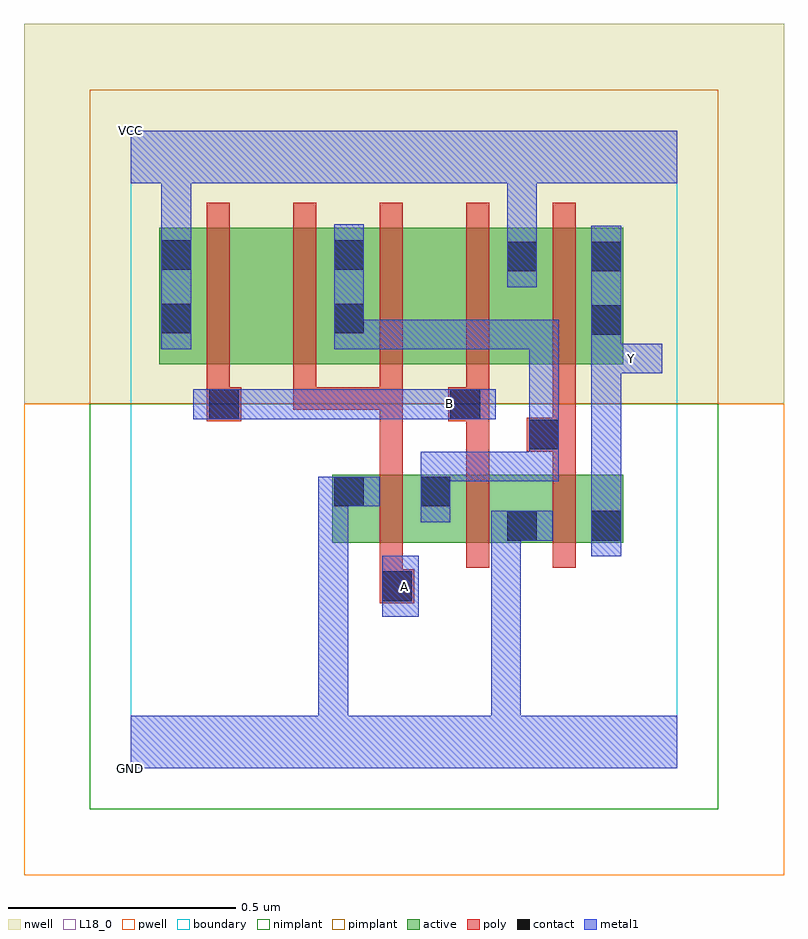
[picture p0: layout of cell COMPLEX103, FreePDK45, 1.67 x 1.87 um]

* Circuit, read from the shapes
.subckt COMPLEX103 A B GND VCC Y
M1 n1 A GND VSUBS nfet w=0.15u l=0.05u
M2 GND B n1 VSUBS nfet w=0.15u l=0.05u
M3 Y n1 GND VSUBS nfet w=0.15u l=0.05u
M4 n2 B VCC n3 pfet w=0.3u l=0.05u
M5 n1 A n2 n3 pfet w=0.3u l=0.05u
M6 n4 A n1 n3 pfet w=0.3u l=0.05u
M7 VCC B n4 n3 pfet w=0.3u l=0.05u
M8 Y n1 VCC n3 pfet w=0.3u l=0.05u
.ends

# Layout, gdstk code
import gdstk
lib = gdstk.Library(unit=1e-6, precision=1e-09)
def R(c, l, rs):  # rectangles x0, y0, x1, y1
    for r in rs: c.add(gdstk.rectangle(r[:2], r[2:], *l))
def A(c, l, x, y, w, h, nx, ny, dx, dy):  # array of equal rectangles
    R(c, l, [(x+i*dx, y+j*dy, x+i*dx+w, y+j*dy+h) for i in range(nx) for j in range(ny)])
active = (1, 0)
pwell = (2, 0)
nwell = (3, 0)
nimplant = (4, 0)
pimplant = (5, 0)
poly = (9, 0)
contact = (10, 0)
metal1 = (11, 0)
L18_0 = (18, 0)
boundary = (235, 0)

complex103 = lib.new_cell('COMPLEX103')
R(complex103, active, [(0.442,0.495,0.517,0.645), (0.442,0.495,0.707,0.645), (0.632,0.495,0.707,0.645), (0.632,0.495,0.897,0.645), (0.822,0.495,1.082,0.645), (0.822,0.495,0.897,0.57), (1.007,0.495,1.082,0.645), (0.062,0.887,0.287,1.187), (0.062,0.887,0.137,1.165), (0.287,0.887,0.517,1.187), (0.442,0.887,0.667,1.187), (0.442,0.887,0.517,1.187), (0.667,0.887,0.897,1.187), (0.822,0.887,1.082,1.187), (1.007,0.887,1.082,1.162), (0.822,1.007,0.897,1.187)])
R(complex103, pwell, [(-0.235,-0.235,1.435,0.8)])
R(complex103, nwell, [(-0.235,0.8,1.435,1.635)])
R(complex103, nimplant, [(-0.09,-0.09,1.29,0.8)])
R(complex103, pimplant, [(-0.09,0.8,1.29,1.49)])
A(complex103, poly, 0.547, 0.44, 0.05, 0.26, 3, 1, 0.19, 0)
A(complex103, poly, 0.167, 0.787, 0.05, 0.095, 4, 1, 0.19, 0)
A(complex103, poly, 0.167, 0.832, 0.05, 0.41, 5, 1, 0.19, 0)
R(complex103, poly, [(0.547,0.362,0.622,0.437), (0.547,0.387,0.597,0.49), (0.547,0.65,0.597,0.837), (0.737,0.65,0.787,0.812), (0.927,0.65,0.977,0.745), (0.87,0.695,0.977,0.77), (0.927,0.72,0.977,0.882), (0.167,0.762,0.242,0.837), (0.697,0.762,0.787,0.837), (0.357,0.787,0.597,0.837), (0.357,0.787,0.407,0.837), (0.357,0.787,0.407,0.837), (0.357,0.787,0.407,0.837), (0.547,0.787,0.597,0.837)])
R(complex103, contact, [(0.552,0.367,0.617,0.432), (0.827,0.5,0.892,0.565), (1.012,0.5,1.077,0.565), (0.447,0.575,0.512,0.64), (0.637,0.575,0.702,0.64), (0.875,0.7,0.94,0.765), (0.172,0.767,0.237,0.832), (0.702,0.767,0.767,0.832), (1.012,0.952,1.077,1.017), (0.067,0.955,0.132,1.02), (0.447,0.955,0.512,1.02), (0.827,1.092,0.892,1.157), (1.012,1.092,1.077,1.157), (0.067,1.095,0.132,1.16), (0.447,1.095,0.512,1.16)])
R(complex103, metal1, [(0,0,1.2,0.115), (0.412,0.05,0.477,0.115), (0.412,0.05,0.477,0.115), (0.412,0.05,0.477,0.64), (0.792,0.05,0.857,0.115), (0.792,0.05,0.857,0.115), (0.792,0.05,0.857,0.115), (0.792,0.05,0.857,0.115), (0.792,0.05,0.857,0.115), (0.792,0.05,0.857,0.115), (0.792,0.05,0.857,0.115), (0.792,0.05,0.857,0.115), (0.792,0.05,0.857,0.565), (0.552,0.332,0.632,0.467), (1.012,0.465,1.077,0.6), (0.792,0.5,0.927,0.565), (1.012,0.535,1.077,0.932), (0.637,0.54,0.702,0.675), (0.412,0.575,0.477,0.64), (0.412,0.575,0.477,0.64), (0.412,0.575,0.477,0.64), (0.412,0.575,0.477,0.64), (0.412,0.575,0.477,0.64), (0.412,0.575,0.477,0.64), (0.412,0.575,0.547,0.64), (0.637,0.61,0.702,0.675), (0.637,0.61,0.702,0.695), (0.637,0.63,0.94,0.695), (0.875,0.63,0.94,0.695), (0.875,0.63,0.94,0.8), (0.875,0.665,0.94,0.8), (0.875,0.735,0.94,0.8), (0.875,0.735,0.94,0.8), (0.875,0.735,0.94,0.985), (0.137,0.767,0.272,0.832), (0.207,0.767,0.272,0.832), (0.207,0.767,0.272,0.832), (0.207,0.767,0.41,0.832), (0.345,0.767,0.41,0.832), (0.345,0.767,0.41,0.832), (0.345,0.767,0.41,0.832), (0.345,0.767,0.56,0.832), (0.495,0.767,0.56,0.832), (0.495,0.767,0.697,0.832), (0.632,0.767,0.697,0.832), (0.632,0.767,0.697,0.832), (0.632,0.767,0.802,0.832), (1.012,0.867,1.077,0.982), (1.012,0.867,1.167,0.932), (1.012,0.917,1.077,1.192), (0.067,0.92,0.132,1.195), (0.447,0.92,0.512,1.195), (0.447,0.92,0.547,0.985), (0.482,0.92,0.547,0.985), (0.482,0.92,0.72,0.985), (0.655,0.92,0.72,0.985), (0.655,0.92,0.72,0.985), (0.655,0.92,0.72,0.985), (0.655,0.92,0.94,0.985), (0.875,0.92,0.94,0.985), (0.827,1.057,0.892,1.192), (0.827,1.127,0.892,1.35), (0.067,1.13,0.132,1.35), (0,1.285,1.2,1.4), (0.067,1.285,0.132,1.35), (0.067,1.285,0.132,1.35), (0.827,1.285,0.892,1.35), (0.827,1.285,0.892,1.35)])
R(complex103, L18_0, [(0,0,1.2,0.115), (0.412,0.05,0.477,0.115), (0.412,0.05,0.477,0.115), (0.412,0.05,0.477,0.64), (0.792,0.05,0.857,0.115), (0.792,0.05,0.857,0.115), (0.792,0.05,0.857,0.115), (0.792,0.05,0.857,0.115), (0.792,0.05,0.857,0.115), (0.792,0.05,0.857,0.115), (0.792,0.05,0.857,0.115), (0.792,0.05,0.857,0.115), (0.792,0.05,0.857,0.565), (0.552,0.332,0.632,0.467), (0.567,0.367,0.632,0.432), (1.012,0.465,1.077,0.6), (0.792,0.5,0.927,0.565), (1.012,0.535,1.077,0.932), (0.412,0.575,0.477,0.64), (0.412,0.575,0.477,0.64), (0.412,0.575,0.477,0.64), (0.412,0.575,0.477,0.64), (0.412,0.575,0.477,0.64), (0.412,0.575,0.477,0.64), (0.412,0.575,0.547,0.64), (0.137,0.767,0.272,0.832), (0.207,0.767,0.272,0.832), (0.207,0.767,0.272,0.832), (0.207,0.767,0.41,0.832), (0.345,0.767,0.41,0.832), (0.345,0.767,0.41,0.832), (0.345,0.767,0.41,0.832), (0.345,0.767,0.56,0.832), (0.495,0.767,0.56,0.832), (0.495,0.767,0.697,0.832), (0.632,0.767,0.697,0.832), (0.632,0.767,0.697,0.832), (0.632,0.767,0.802,0.832), (0.667,0.767,0.732,0.832), (1.012,0.867,1.167,0.932), (1.012,0.867,1.077,0.982), (1.067,0.867,1.132,0.932), (1.012,0.917,1.077,1.192), (0.067,0.92,0.132,1.195), (0.827,1.057,0.892,1.192), (0.827,1.127,0.892,1.35), (0.067,1.13,0.132,1.35), (0,1.285,1.2,1.4), (0.067,1.285,0.132,1.35), (0.067,1.285,0.132,1.35), (0.827,1.285,0.892,1.35), (0.827,1.285,0.892,1.35)])
R(complex103, boundary, [(0,0,1.2,1.4)])
complex103.add(gdstk.Label('A', (0.6,0.4), layer=11, texttype=0))
complex103.add(gdstk.Label('B', (0.7,0.8), layer=11, texttype=0))
complex103.add(gdstk.Label('Y', (1.1,0.9), layer=11, texttype=0))
complex103.add(gdstk.Label('VCC', (0,1.4), layer=11, texttype=0))
complex103.add(gdstk.Label('GND', (0,0), layer=11, texttype=0))

lib.write_gds('COMPLEX103.gds')
